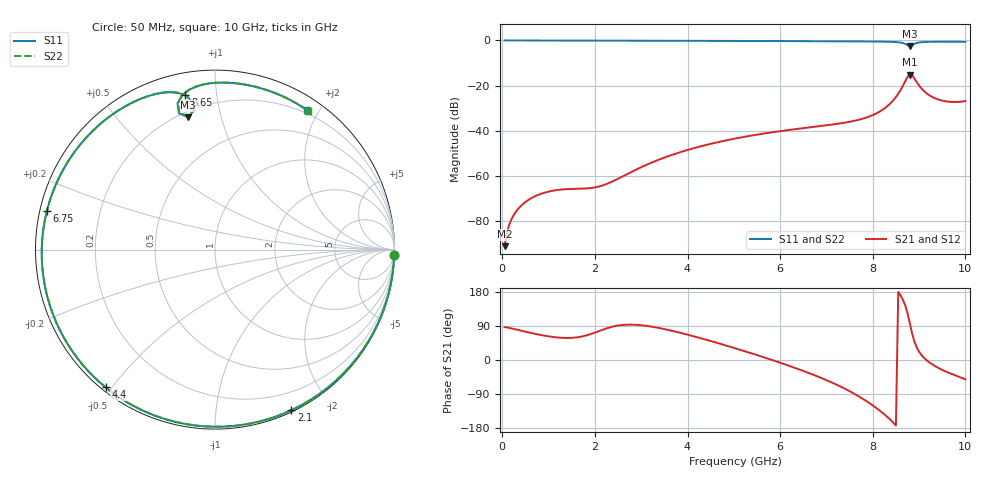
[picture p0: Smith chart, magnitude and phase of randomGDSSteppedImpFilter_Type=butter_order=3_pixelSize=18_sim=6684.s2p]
! freq	dB(S11)	phase(S11)	dB(S12)	phase(S12)
!  dB(S21)	phase(S21)	dB(S22)	phase(S22)
!S-par simulation data
#  GHz  S  DB  R 50
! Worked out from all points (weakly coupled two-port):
!   200 points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, 50 MHz to 10 GHz, reference 50 ohm
!   highest |S21| = -15.09 dB at 8.8 GHz (marker M1); lowest = -91.1 dB at 50 MHz (marker M2)
!   lowest |S11| = -2.5 dB at 8.8 GHz (marker M3), VSWR 7.10, Z = 11.6 + j39.5 ohm
!   |S11| at or under -10 dB: nowhere
!   |S22| runs from -2.4 to 0.0 dB; largest |S21 - S12| = 0
!   S11 on the Smith chart (normalised r, x): 50 MHz: 4, -72; 2.1 GHz: 0.02, -1.58; 4.4 GHz: 0.01, -0.48; 6.75 GHz: 0.02, +0.11; 8.65 GHz: 0.11, +0.82; 10 GHz: 0.16, +1.85
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0.05  -0.01 -1.6  -91.10 86.9  -91.10 86.9  -0.01 -1.6
0.15  -0.01 -4.7  -81.58 84.8  -81.58 84.8  -0.01 -4.7
0.4  -0.02 -12.6  -73.31 77.5  -73.31 77.5  -0.02 -12.6
0.75  -0.03 -23.6  -68.61 67.9  -68.61 67.9  -0.03 -23.6
1.15  -0.04 -36.0  -66.35 59.9  -66.35 59.9  -0.04 -36.0
1.75  -0.07 -54.2  -65.62 62.8  -65.62 62.8  -0.07 -54.2
2.1  -0.08 -64.6  -64.61 76.8  -64.61 76.8  -0.08 -64.6
3.4  -0.13 -101.4  -52.66 84.1  -52.66 84.1  -0.13 -101.5
4.4  -0.18 -128.5  -46.28 53.6  -46.28 53.6  -0.18 -128.5
5.05  -0.21 -145.8  -43.36 30.2  -43.36 30.2  -0.21 -145.9
5.9  -0.27 -168.8  -40.47 -3.0  -40.47 -3.0  -0.27 -168.9
6.7  -0.34 168.5  -38.34 -38.2  -38.34 -38.2  -0.34 168.4
6.75  -0.35 167.0  -38.21 -40.6  -38.21 -40.6  -0.35 166.9
7.8  -0.46 134.2  -34.56 -103.5  -34.56 -103.5  -0.46 134.1
8.35  -0.59 114.3  -28.46 -154.1  -28.46 -154.1  -0.59 114.3
8.65  -1.16 100.9  -20.12 159.2  -20.12 159.2  -1.15 100.8
8.8  -2.46 101.5  -15.09 97.2  -15.09 97.2  -2.43 101.3
8.9  -1.51 104.4  -16.86 48.4  -16.86 48.4  -1.49 104.2
9.1  -0.71 94.3  -22.30 6.5  -22.30 6.5  -0.71 94.1
9.3  -0.60 85.3  -25.18 -12.8  -25.18 -12.8  -0.60 85.1
9.65  -0.59 70.8  -27.17 -34.2  -27.17 -34.2  -0.59 70.6
10  -0.62 56.5  -26.80 -50.8  -26.80 -50.8  -0.62 56.3
